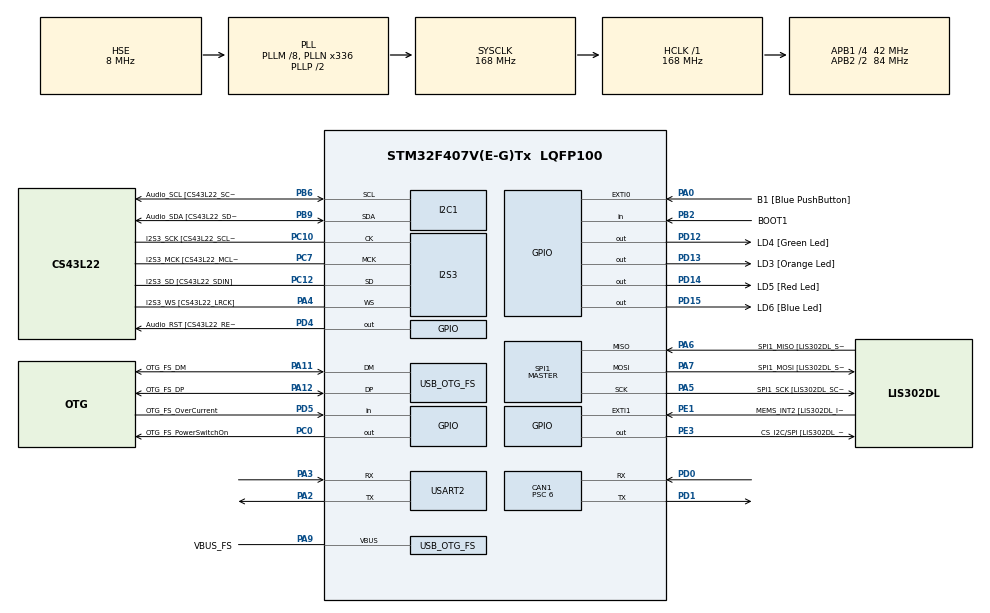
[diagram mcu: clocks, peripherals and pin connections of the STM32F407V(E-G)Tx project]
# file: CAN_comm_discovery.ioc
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CAN1.BS1=CAN_BS1_11TQ
CAN1.BS2=CAN_BS2_2TQ
CAN1.CalculateBaudRate=500000
CAN1.CalculateTimeBit=2000
CAN1.CalculateTimeQuantum=142.85714285714286
CAN1.NART=ENABLE
CAN1.Prescaler=6
I2S3.AudioFreq-Half_Duplex_Master=I2S_AUDIOFREQ_96K
I2S3.ErrorAudioFreq=-2.34 %
I2S3.ErrorAudioFreq-Half_Duplex_Master=0.8 %
I2S3.FullDuplexMode=I2S_FULLDUPLEXMODE_DISABLE
I2S3.Instance=SPI$Index
I2S3.RealAudioFreq=93.75 KHz
I2S3.RealAudioFreq-Half_Duplex_Master=96.774 KHz
I2S3.VirtualMode=I2S_MODE_MASTER
Mcu.Family=STM32F4
Mcu.Name=STM32F407V(E-G)Tx
Mcu.Package=LQFP100
NVIC.CAN1_RX0_IRQn=true\:0\:0\:false\:false\:true\:true\:true\:true
NVIC.OTG_FS_IRQn=true\:0\:0\:false\:false\:true\:true\:true\:true
NVIC.PriorityGroup=NVIC_PRIORITYGROUP_0
PA0-WKUP.GPIO_Label=B1 [Blue PushButton]
PA0-WKUP.GPIO_ModeDefaultEXTI=GPIO_MODE_EVT_RISING
PA0-WKUP.GPIO_PuPd=GPIO_NOPULL
PA0-WKUP.Signal=GPXTI0
PA10.GPIO_Label=OTG_FS_ID
PA10.GPIO_Mode=GPIO_MODE_AF_PP
PA10.GPIO_PuPd=GPIO_NOPULL
PA10.GPIO_Speed=GPIO_SPEED_FREQ_LOW
PA10.Signal=USB_OTG_FS_ID
PA11.GPIO_Label=OTG_FS_DM
PA11.GPIO_Mode=GPIO_MODE_AF_PP
PA11.GPIO_PuPd=GPIO_NOPULL
PA11.GPIO_Speed=GPIO_SPEED_FREQ_LOW
PA11.Mode=Host_Only
PA11.Signal=USB_OTG_FS_DM
PA12.GPIO_Label=OTG_FS_DP
PA12.GPIO_Mode=GPIO_MODE_AF_PP
PA12.GPIO_PuPd=GPIO_NOPULL
PA12.GPIO_Speed=GPIO_SPEED_FREQ_LOW
PA12.Mode=Host_Only
PA12.Signal=USB_OTG_FS_DP
PA13.GPIO_Label=SWDIO
PA13.Mode=Serial_Wire
PA13.Signal=SYS_JTMS-SWDIO
PA14.GPIO_Label=SWCLK
PA14.Mode=Serial_Wire
PA14.Signal=SYS_JTCK-SWCLK
PA2.Mode=Asynchronous
PA2.Signal=USART2_TX
PA3.Mode=Asynchronous
PA3.Signal=USART2_RX
PA4.GPIO_Label=I2S3_WS [CS43L22_LRCK]
PA4.GPIO_Mode=GPIO_MODE_AF_PP
PA4.GPIO_PuPd=GPIO_NOPULL
PA4.GPIO_Speed=GPIO_SPEED_FREQ_LOW
PA4.Mode=Half_Duplex_Master
PA4.Signal=I2S3_WS
PA5.GPIO_Label=SPI1_SCK [LIS302DL_SCL/SPC]
PA5.GPIO_Mode=GPIO_MODE_AF_PP
PA5.GPIO_PuPd=GPIO_NOPULL
PA5.GPIO_Speed=GPIO_SPEED_FREQ_LOW
PA5.Mode=Full_Duplex_Master
PA5.Signal=SPI1_SCK
PA6.GPIO_Label=SPI1_MISO [LIS302DL_SDO]
PA6.GPIO_Mode=GPIO_MODE_AF_PP
PA6.GPIO_PuPd=GPIO_NOPULL
PA6.GPIO_Speed=GPIO_SPEED_FREQ_LOW
PA6.Mode=Full_Duplex_Master
PA6.Signal=SPI1_MISO
PA7.GPIO_Label=SPI1_MOSI [LIS302DL_SDA/SDI/SDO]
PA7.GPIO_Mode=GPIO_MODE_AF_PP
PA7.GPIO_PuPd=GPIO_NOPULL
PA7.GPIO_Speed=GPIO_SPEED_FREQ_LOW
PA7.Mode=Full_Duplex_Master
PA7.Signal=SPI1_MOSI
PA9.GPIO_Label=VBUS_FS
PA9.GPIO_Mode=GPIO_MODE_INPUT
PA9.GPIO_PuPd=GPIO_NOPULL
PA9.Mode=Activate_VBUS
PA9.Signal=USB_OTG_FS_VBUS
PB10.GPIO_Label=CLK_IN [MP45DT02_CLK]
PB10.GPIO_Mode=GPIO_MODE_AF_PP
PB10.GPIO_PuPd=GPIO_NOPULL
PB10.GPIO_Speed=GPIO_SPEED_FREQ_LOW
PB10.Signal=I2S2_CK
PB2.GPIO_Label=BOOT1
PB2.GPIO_Mode=GPIO_MODE_INPUT
PB2.GPIO_PuPd=GPIO_NOPULL
PB2.Signal=GPIO_Input
PB3.GPIO_Label=SWO
PB3.Signal=SYS_JTDO-SWO
PB6.GPIO_Label=Audio_SCL [CS43L22_SCL]
PB6.GPIO_Mode=GPIO_MODE_AF_OD
PB6.GPIO_Pu=GPIO_PULLUP
PB6.GPIO_PuPd=GPIO_NOPULL
PB6.GPIO_Speed=GPIO_SPEED_FREQ_LOW
PB6.Mode=I2C
PB6.Signal=I2C1_SCL
PB9.GPIO_Label=Audio_SDA [CS43L22_SDA]
PB9.GPIO_Mode=GPIO_MODE_AF_OD
PB9.GPIO_Pu=GPIO_PULLUP
PB9.GPIO_PuPd=GPIO_NOPULL
PB9.GPIO_Speed=GPIO_SPEED_FREQ_LOW
PB9.Mode=I2C
PB9.Signal=I2C1_SDA
PC0.GPIO_Label=OTG_FS_PowerSwitchOn
PC0.GPIO_PuPd=GPIO_NOPULL
PC0.GPIO_Speed=GPIO_SPEED_FREQ_LOW
PC0.PinState=GPIO_PIN_SET
PC0.Signal=GPIO_Output
PC10.GPIO_Label=I2S3_SCK [CS43L22_SCLK]
PC10.GPIO_Mode=GPIO_MODE_AF_PP
PC10.GPIO_PuPd=GPIO_NOPULL
PC10.GPIO_Speed=GPIO_SPEED_FREQ_LOW
PC10.Mode=Half_Duplex_Master
PC10.Signal=I2S3_CK
PC12.GPIO_Label=I2S3_SD [CS43L22_SDIN]
PC12.GPIO_Mode=GPIO_MODE_AF_PP
PC12.GPIO_PuPd=GPIO_NOPULL
PC12.GPIO_Speed=GPIO_SPEED_FREQ_LOW
PC12.Mode=Half_Duplex_Master
PC12.Signal=I2S3_SD
PC14-OSC32_IN.GPIO_Label=PC14-OSC32_IN
PC14-OSC32_IN.Mode=LSE-External-Oscillator
PC14-OSC32_IN.Signal=RCC_OSC32_IN
PC15-OSC32_OUT.GPIO_Label=PC15-OSC32_OUT
PC15-OSC32_OUT.Mode=LSE-External-Oscillator
PC15-OSC32_OUT.Signal=RCC_OSC32_OUT
PC3.GPIO_Label=PDM_OUT [MP45DT02_DOUT]
PC3.GPIO_Mode=GPIO_MODE_AF_PP
PC3.GPIO_PuPd=GPIO_NOPULL
PC3.GPIO_Speed=GPIO_SPEED_FREQ_LOW
PC3.Signal=I2S2_SD
PC7.GPIO_Label=I2S3_MCK [CS43L22_MCLK]
PC7.GPIO_Mode=GPIO_MODE_AF_PP
PC7.GPIO_PuPd=GPIO_NOPULL
PC7.GPIO_Speed=GPIO_SPEED_FREQ_LOW
PC7.Mode=Master_Clock_Activated
PC7.Signal=I2S3_MCK
PD0.Mode=CAN_Activate
PD0.Signal=CAN1_RX
PD1.Mode=CAN_Activate
PD1.Signal=CAN1_TX
PD12.GPIO_Label=LD4 [Green Led]
PD12.GPIO_PuPd=GPIO_NOPULL
PD12.GPIO_Speed=GPIO_SPEED_FREQ_LOW
PD12.Signal=GPIO_Output
PD13.GPIO_Label=LD3 [Orange Led]
PD13.GPIO_PuPd=GPIO_NOPULL
PD13.GPIO_Speed=GPIO_SPEED_FREQ_LOW
PD13.Signal=GPIO_Output
PD14.GPIO_Label=LD5 [Red Led]
PD14.GPIO_PuPd=GPIO_NOPULL
PD14.GPIO_Speed=GPIO_SPEED_FREQ_LOW
PD14.Signal=GPIO_Output
PD15.GPIO_Label=LD6 [Blue Led]
PD15.GPIO_PuPd=GPIO_NOPULL
PD15.GPIO_Speed=GPIO_SPEED_FREQ_LOW
PD15.Signal=GPIO_Output
PD4.GPIO_Label=Audio_RST [CS43L22_RESET]
PD4.GPIO_PuPd=GPIO_NOPULL
PD4.GPIO_Speed=GPIO_SPEED_FREQ_LOW
PD4.Signal=GPIO_Output
PD5.GPIO_Label=OTG_FS_OverCurrent
PD5.GPIO_Mode=GPIO_MODE_INPUT
PD5.GPIO_PuPd=GPIO_NOPULL
PD5.Signal=GPIO_Input
PE1.GPIO_Label=MEMS_INT2 [LIS302DL_INT2]
PE1.GPIO_ModeDefaultEXTI=GPIO_MODE_EVT_RISING
PE1.GPIO_PuPd=GPIO_NOPULL
PE1.Signal=GPXTI1
PE3.GPIO_Label=CS_I2C/SPI [LIS302DL_CS_I2C/SPI]
PE3.GPIO_PuPd=GPIO_NOPULL
PE3.GPIO_Speed=GPIO_SPEED_FREQ_LOW
PE3.Signal=GPIO_Output
PH0-OSC_IN.GPIO_Label=PH0-OSC_IN
PH0-OSC_IN.Mode=HSE-External-Oscillator
PH0-OSC_IN.Signal=RCC_OSC_IN
PH1-OSC_OUT.GPIO_Label=PH1-OSC_OUT
PH1-OSC_OUT.Mode=HSE-External-Oscillator
PH1-OSC_OUT.Signal=RCC_OSC_OUT
ProjectManager.HeapSize=0x200
ProjectManager.StackSize=0x400
ProjectManager.TargetToolchain=STM32CubeIDE
RCC.48MHZClocksFreq_Value=48000000
RCC.AHBFreq_Value=168000000
RCC.APB1CLKDivider=RCC_HCLK_DIV4
RCC.APB1Freq_Value=42000000
RCC.APB1TimFreq_Value=84000000
RCC.APB2CLKDivider=RCC_HCLK_DIV2
RCC.APB2Freq_Value=84000000
RCC.APB2TimFreq_Value=168000000
RCC.CortexFreq_Value=168000000
RCC.HCLKFreq_Value=168000000
RCC.HSE_VALUE=8000000
RCC.HSI_VALUE=16000000
RCC.PLLM=8
RCC.PLLN=336
RCC.PLLQ=7
RCC.SYSCLKFreq_VALUE=168000000
RCC.SYSCLKSource=RCC_SYSCLKSOURCE_PLLCLK
RCC.VCOOutputFreq_Value=336000000
SPI1.BaudRatePrescaler-Full_Duplex_Master=SPI_BAUDRATEPRESCALER_2
SPI1.CalculateBaudRate-Full_Duplex_Master=42.0 MBits/s
SPI1.Direction=SPI_DIRECTION_2LINES
SPI1.Mode=SPI_MODE_MASTER
SPI1.Mode-Full_Duplex_Master=SPI_MODE_MASTER
SPI1.VirtualType=VM_MASTER
USART2.VirtualMode=VM_ASYNC
USB_HOST.BSP.number=1
USB_HOST.USBH_HandleTypeDef-CDC_FS=hUsbHostFS
USB_HOST.VirtualModeFS=Cdc
USB_HOST0.BSP.STBoard=false
USB_HOST0.BSP.api=Unknown
USB_HOST0.BSP.instance=PC0
USB_HOST0.BSP.ip=GPIO
USB_HOST0.BSP.mode=Output
USB_HOST0.BSP.name=Drive_VBUS_FS
USB_HOST0.BSP.solution=PC0
USB_OTG_FS.VirtualMode=Host_Only
USB_OTG_FS.phy_itface=HCD_PHY_EMBEDDED
VP_USB_HOST_VS_USB_HOST_CDC_FS.Mode=CDC_FS
board=STM32F407G-DISC1

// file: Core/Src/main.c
/* USER CODE BEGIN Header */
/**
  ******************************************************************************
  * @file           : main.c
  * @brief          : Main program body
  ******************************************************************************
  * @attention
  *
  * Copyright (c) 2026 STMicroelectronics.
  * All rights reserved.
  *
  * This software is licensed under terms that can be found in the LICENSE file
  * in the root directory of this software component.
  * If no LICENSE file comes with this software, it is provided AS-IS.
  *
  ******************************************************************************
  */
/* USER CODE END Header */
#include "main.h"
#include "usb_host.h"

CAN_HandleTypeDef hcan1;

I2C_HandleTypeDef hi2c1;

I2S_HandleTypeDef hi2s3;

SPI_HandleTypeDef hspi1;

UART_HandleTypeDef huart2;

/* USER CODE BEGIN PV */
CAN_RxHeaderTypeDef RxHeader;
uint8_t RxData[8];

/* USER CODE END PV */

void SystemClock_Config(void);
static void MX_GPIO_Init(void);
static void MX_I2C1_Init(void);
static void MX_I2S3_Init(void);
static void MX_SPI1_Init(void);
static void MX_CAN1_Init(void);
static void MX_USART2_UART_Init(void);
void MX_USB_HOST_Process(void);

/* USER CODE BEGIN 0 */

#include <stdio.h>

int __io_putchar(int ch)
{
    HAL_UART_Transmit(&huart2, (uint8_t *)&ch, 1, HAL_MAX_DELAY);
    return ch;
}

/* USER CODE END 0 */

int main(void)
{

  /* MCU Configuration--------------------------------------------------------*/

  /* Reset of all peripherals, Initializes the Flash interface and the Systick. */
  HAL_Init();

  /* Configure the system clock */
  SystemClock_Config();

  /* Initialize all configured peripherals */
  MX_GPIO_Init();
  MX_I2C1_Init();
  MX_I2S3_Init();
  MX_SPI1_Init();
  MX_USB_HOST_Init();
  MX_CAN1_Init();
  MX_USART2_UART_Init();
  /* USER CODE BEGIN 2 */

  // Configure Filter
  CAN_FilterTypeDef sFilterConfig;

  sFilterConfig.FilterBank = 0;
  sFilterConfig.FilterMode = CAN_FILTERMODE_IDMASK;
  sFilterConfig.FilterScale = CAN_FILTERSCALE_32BIT;
  sFilterConfig.FilterIdHigh = 0x0000;
  sFilterConfig.FilterIdLow = 0x0000;
  sFilterConfig.FilterMaskIdHigh = 0x0000;
  sFilterConfig.FilterMaskIdLow = 0x0000;
  sFilterConfig.FilterFIFOAssignment = CAN_FILTER_FIFO0;
  sFilterConfig.FilterActivation = ENABLE;
  sFilterConfig.SlaveStartFilterBank = 14;

  HAL_CAN_ConfigFilter(&hcan1, &sFilterConfig);

  // Start CAN
  HAL_CAN_Start(&hcan1);

  // Activate interrupt
  HAL_CAN_ActivateNotification(&hcan1, CAN_IT_RX_FIFO0_MSG_PENDING);
  printf("CAN Initialized and Running...\r\n");

  /* USER CODE END 2 */

  /* Infinite loop */
  while (1)
  {
		MX_USB_HOST_Process();

    /* USER CODE BEGIN 3 */
		printf("Waiting for CAN message...\r\n");
		HAL_Delay(1000);
  }
  /* USER CODE END 3 */
}

void SystemClock_Config(void)
{
  RCC_OscInitTypeDef RCC_OscInitStruct = {0};
  RCC_ClkInitTypeDef RCC_ClkInitStruct = {0};

  /** Configure the main internal regulator output voltage
  */
  __HAL_RCC_PWR_CLK_ENABLE();
  __HAL_PWR_VOLTAGESCALING_CONFIG(PWR_REGULATOR_VOLTAGE_SCALE1);

  /** Initializes the RCC Oscillators according to the specified parameters
  * in the RCC_OscInitTypeDef structure.
  */
  RCC_OscInitStruct.OscillatorType = RCC_OSCILLATORTYPE_HSE;
  RCC_OscInitStruct.HSEState = RCC_HSE_ON;
  RCC_OscInitStruct.PLL.PLLState = RCC_PLL_ON;
  RCC_OscInitStruct.PLL.PLLSource = RCC_PLLSOURCE_HSE;
  RCC_OscInitStruct.PLL.PLLM = 8;
  RCC_OscInitStruct.PLL.PLLN = 336;
  RCC_OscInitStruct.PLL.PLLP = RCC_PLLP_DIV2;
  RCC_OscInitStruct.PLL.PLLQ = 7;
  if (HAL_RCC_OscConfig(&RCC_OscInitStruct) != HAL_OK)
  {
    Error_Handler();
  }

  /** Initializes the CPU, AHB and APB buses clocks
  */
  RCC_ClkInitStruct.ClockType = RCC_CLOCKTYPE_HCLK|RCC_CLOCKTYPE_SYSCLK
                              |RCC_CLOCKTYPE_PCLK1|RCC_CLOCKTYPE_PCLK2;
  RCC_ClkInitStruct.SYSCLKSource = RCC_SYSCLKSOURCE_PLLCLK;
  RCC_ClkInitStruct.AHBCLKDivider = RCC_SYSCLK_DIV1;
  RCC_ClkInitStruct.APB1CLKDivider = RCC_HCLK_DIV4;
  RCC_ClkInitStruct.APB2CLKDivider = RCC_HCLK_DIV2;

  if (HAL_RCC_ClockConfig(&RCC_ClkInitStruct, FLASH_LATENCY_5) != HAL_OK)
  {
    Error_Handler();
  }
}

static void MX_CAN1_Init(void)
{

  hcan1.Instance = CAN1;
  hcan1.Init.Prescaler = 6;
  hcan1.Init.Mode = CAN_MODE_NORMAL;
  hcan1.Init.SyncJumpWidth = CAN_SJW_1TQ;
  hcan1.Init.TimeSeg1 = CAN_BS1_11TQ;
  hcan1.Init.TimeSeg2 = CAN_BS2_2TQ;
  hcan1.Init.TimeTriggeredMode = DISABLE;
  hcan1.Init.AutoBusOff = DISABLE;
  hcan1.Init.AutoWakeUp = DISABLE;
  hcan1.Init.AutoRetransmission = ENABLE;
  hcan1.Init.ReceiveFifoLocked = DISABLE;
  hcan1.Init.TransmitFifoPriority = DISABLE;
  if (HAL_CAN_Init(&hcan1) != HAL_OK)
  {
    Error_Handler();
  }

}

static void MX_I2C1_Init(void)
{

  hi2c1.Instance = I2C1;
  hi2c1.Init.ClockSpeed = 100000;
  hi2c1.Init.DutyCycle = I2C_DUTYCYCLE_2;
  hi2c1.Init.OwnAddress1 = 0;
  hi2c1.Init.AddressingMode = I2C_ADDRESSINGMODE_7BIT;
  hi2c1.Init.DualAddressMode = I2C_DUALADDRESS_DISABLE;
  hi2c1.Init.OwnAddress2 = 0;
  hi2c1.Init.GeneralCallMode = I2C_GENERALCALL_DISABLE;
  hi2c1.Init.NoStretchMode = I2C_NOSTRETCH_DISABLE;
  if (HAL_I2C_Init(&hi2c1) != HAL_OK)
  {
    Error_Handler();
  }

}

static void MX_I2S3_Init(void)
{

  hi2s3.Instance = SPI3;
  hi2s3.Init.Mode = I2S_MODE_MASTER_TX;
  hi2s3.Init.Standard = I2S_STANDARD_PHILIPS;
  hi2s3.Init.DataFormat = I2S_DATAFORMAT_16B;
  hi2s3.Init.MCLKOutput = I2S_MCLKOUTPUT_ENABLE;
  hi2s3.Init.AudioFreq = I2S_AUDIOFREQ_96K;
  hi2s3.Init.CPOL = I2S_CPOL_LOW;
  hi2s3.Init.ClockSource = I2S_CLOCK_PLL;
  hi2s3.Init.FullDuplexMode = I2S_FULLDUPLEXMODE_DISABLE;
  if (HAL_I2S_Init(&hi2s3) != HAL_OK)
  {
    Error_Handler();
  }

}

static void MX_SPI1_Init(void)
{

  /* SPI1 parameter configuration*/
  hspi1.Instance = SPI1;
  hspi1.Init.Mode = SPI_MODE_MASTER;
  hspi1.Init.Direction = SPI_DIRECTION_2LINES;
  hspi1.Init.DataSize = SPI_DATASIZE_8BIT;
  hspi1.Init.CLKPolarity = SPI_POLARITY_LOW;
  hspi1.Init.CLKPhase = SPI_PHASE_1EDGE;
  hspi1.Init.NSS = SPI_NSS_SOFT;
  hspi1.Init.BaudRatePrescaler = SPI_BAUDRATEPRESCALER_2;
  hspi1.Init.FirstBit = SPI_FIRSTBIT_MSB;
  hspi1.Init.TIMode = SPI_TIMODE_DISABLE;
  hspi1.Init.CRCCalculation = SPI_CRCCALCULATION_DISABLE;
  hspi1.Init.CRCPolynomial = 10;
  if (HAL_SPI_Init(&hspi1) != HAL_OK)
  {
    Error_Handler();
  }

}

static void MX_USART2_UART_Init(void)
{

  huart2.Instance = USART2;
  huart2.Init.BaudRate = 115200;
  huart2.Init.WordLength = UART_WORDLENGTH_8B;
  huart2.Init.StopBits = UART_STOPBITS_1;
  huart2.Init.Parity = UART_PARITY_NONE;
  huart2.Init.Mode = UART_MODE_TX_RX;
  huart2.Init.HwFlowCtl = UART_HWCONTROL_NONE;
  huart2.Init.OverSampling = UART_OVERSAMPLING_16;
  if (HAL_UART_Init(&huart2) != HAL_OK)
  {
    Error_Handler();
  }

}

static void MX_GPIO_Init(void)
{
  GPIO_InitTypeDef GPIO_InitStruct = {0};

  /* GPIO Ports Clock Enable */
  __HAL_RCC_GPIOE_CLK_ENABLE();
  __HAL_RCC_GPIOC_CLK_ENABLE();
  __HAL_RCC_GPIOH_CLK_ENABLE();
  __HAL_RCC_GPIOA_CLK_ENABLE();
  __HAL_RCC_GPIOB_CLK_ENABLE();
  __HAL_RCC_GPIOD_CLK_ENABLE();

  /*Configure GPIO pin Output Level */
  HAL_GPIO_WritePin(CS_I2C_SPI_GPIO_Port, CS_I2C_SPI_Pin, GPIO_PIN_RESET);

  /*Configure GPIO pin Output Level */
  HAL_GPIO_WritePin(OTG_FS_PowerSwitchOn_GPIO_Port, OTG_FS_PowerSwitchOn_Pin, GPIO_PIN_SET);

  /*Configure GPIO pin Output Level */
  HAL_GPIO_WritePin(GPIOD, LD4_Pin|LD3_Pin|LD5_Pin|LD6_Pin
                          |Audio_RST_Pin, GPIO_PIN_RESET);

  /*Configure GPIO pin : CS_I2C_SPI_Pin */
  GPIO_InitStruct.Pin = CS_I2C_SPI_Pin;
  GPIO_InitStruct.Mode = GPIO_MODE_OUTPUT_PP;
  GPIO_InitStruct.Pull = GPIO_NOPULL;
  GPIO_InitStruct.Speed = GPIO_SPEED_FREQ_LOW;
  HAL_GPIO_Init(CS_I2C_SPI_GPIO_Port, &GPIO_InitStruct);

  /*Configure GPIO pin : OTG_FS_PowerSwitchOn_Pin */
  GPIO_InitStruct.Pin = OTG_FS_PowerSwitchOn_Pin;
  GPIO_InitStruct.Mode = GPIO_MODE_OUTPUT_PP;
  GPIO_InitStruct.Pull = GPIO_NOPULL;
  GPIO_InitStruct.Speed = GPIO_SPEED_FREQ_LOW;
  HAL_GPIO_Init(OTG_FS_PowerSwitchOn_GPIO_Port, &GPIO_InitStruct);

  /*Configure GPIO pin : PDM_OUT_Pin */
  GPIO_InitStruct.Pin = PDM_OUT_Pin;
  GPIO_InitStruct.Mode = GPIO_MODE_AF_PP;
  GPIO_InitStruct.Pull = GPIO_NOPULL;
  GPIO_InitStruct.Speed = GPIO_SPEED_FREQ_LOW;
  GPIO_InitStruct.Alternate = GPIO_AF5_SPI2;
  HAL_GPIO_Init(PDM_OUT_GPIO_Port, &GPIO_InitStruct);

  /*Configure GPIO pin : B1_Pin */
  GPIO_InitStruct.Pin = B1_Pin;
  GPIO_InitStruct.Mode = GPIO_MODE_EVT_RISING;
  GPIO_InitStruct.Pull = GPIO_NOPULL;
  HAL_GPIO_Init(B1_GPIO_Port, &GPIO_InitStruct);

  /*Configure GPIO pin : BOOT1_Pin */
  GPIO_InitStruct.Pin = BOOT1_Pin;
  GPIO_InitStruct.Mode = GPIO_MODE_INPUT;
  GPIO_InitStruct.Pull = GPIO_NOPULL;
  HAL_GPIO_Init(BOOT1_GPIO_Port, &GPIO_InitStruct);

  /*Configure GPIO pin : CLK_IN_Pin */
  GPIO_InitStruct.Pin = CLK_IN_Pin;
  GPIO_InitStruct.Mode = GPIO_MODE_AF_PP;
  GPIO_InitStruct.Pull = GPIO_NOPULL;
  GPIO_InitStruct.Speed = GPIO_SPEED_FREQ_LOW;
  GPIO_InitStruct.Alternate = GPIO_AF5_SPI2;
  HAL_GPIO_Init(CLK_IN_GPIO_Port, &GPIO_InitStruct);

  /*Configure GPIO pins : LD4_Pin LD3_Pin LD5_Pin LD6_Pin
                           Audio_RST_Pin */
  GPIO_InitStruct.Pin = LD4_Pin|LD3_Pin|LD5_Pin|LD6_Pin
                          |Audio_RST_Pin;
  GPIO_InitStruct.Mode = GPIO_MODE_OUTPUT_PP;
  GPIO_InitStruct.Pull = GPIO_NOPULL;
  GPIO_InitStruct.Speed = GPIO_SPEED_FREQ_LOW;
  HAL_GPIO_Init(GPIOD, &GPIO_InitStruct);

  /*Configure GPIO pin : OTG_FS_OverCurrent_Pin */
  GPIO_InitStruct.Pin = OTG_FS_OverCurrent_Pin;
  GPIO_InitStruct.Mode = GPIO_MODE_INPUT;
  GPIO_InitStruct.Pull = GPIO_NOPULL;
  HAL_GPIO_Init(OTG_FS_OverCurrent_GPIO_Port, &GPIO_InitStruct);

  /*Configure GPIO pin : MEMS_INT2_Pin */
  GPIO_InitStruct.Pin = MEMS_INT2_Pin;
  GPIO_InitStruct.Mode = GPIO_MODE_EVT_RISING;
  GPIO_InitStruct.Pull = GPIO_NOPULL;
  HAL_GPIO_Init(MEMS_INT2_GPIO_Port, &GPIO_InitStruct);

}

/* USER CODE BEGIN 4 */

void HAL_CAN_RxFifo0MsgPendingCallback(CAN_HandleTypeDef *hcan)
{
    if (HAL_CAN_GetRxMessage(hcan, CAN_RX_FIFO0, &RxHeader, RxData) == HAL_OK)
    {
        // Toggle LED (PD12)
    	HAL_GPIO_TogglePin(GPIOD, LD4_Pin);
    	 printf("CAN MSG Received!\r\n");
    	        printf("StdId: 0x%lX\r\n", RxHeader.StdId);
    	        printf("DLC: %lu\r\n", RxHeader.DLC);
    	        printf("Data: ");
    	        for (int i = 0; i < RxHeader.DLC; i++)
    	        {
    	            printf("0x%02X ", RxData[i]);
    	        }
    	        printf("\r\n");
    }
}

/* USER CODE END 4 */

void Error_Handler(void)
{
  __disable_irq();
  while (1)
  {
  }
}
